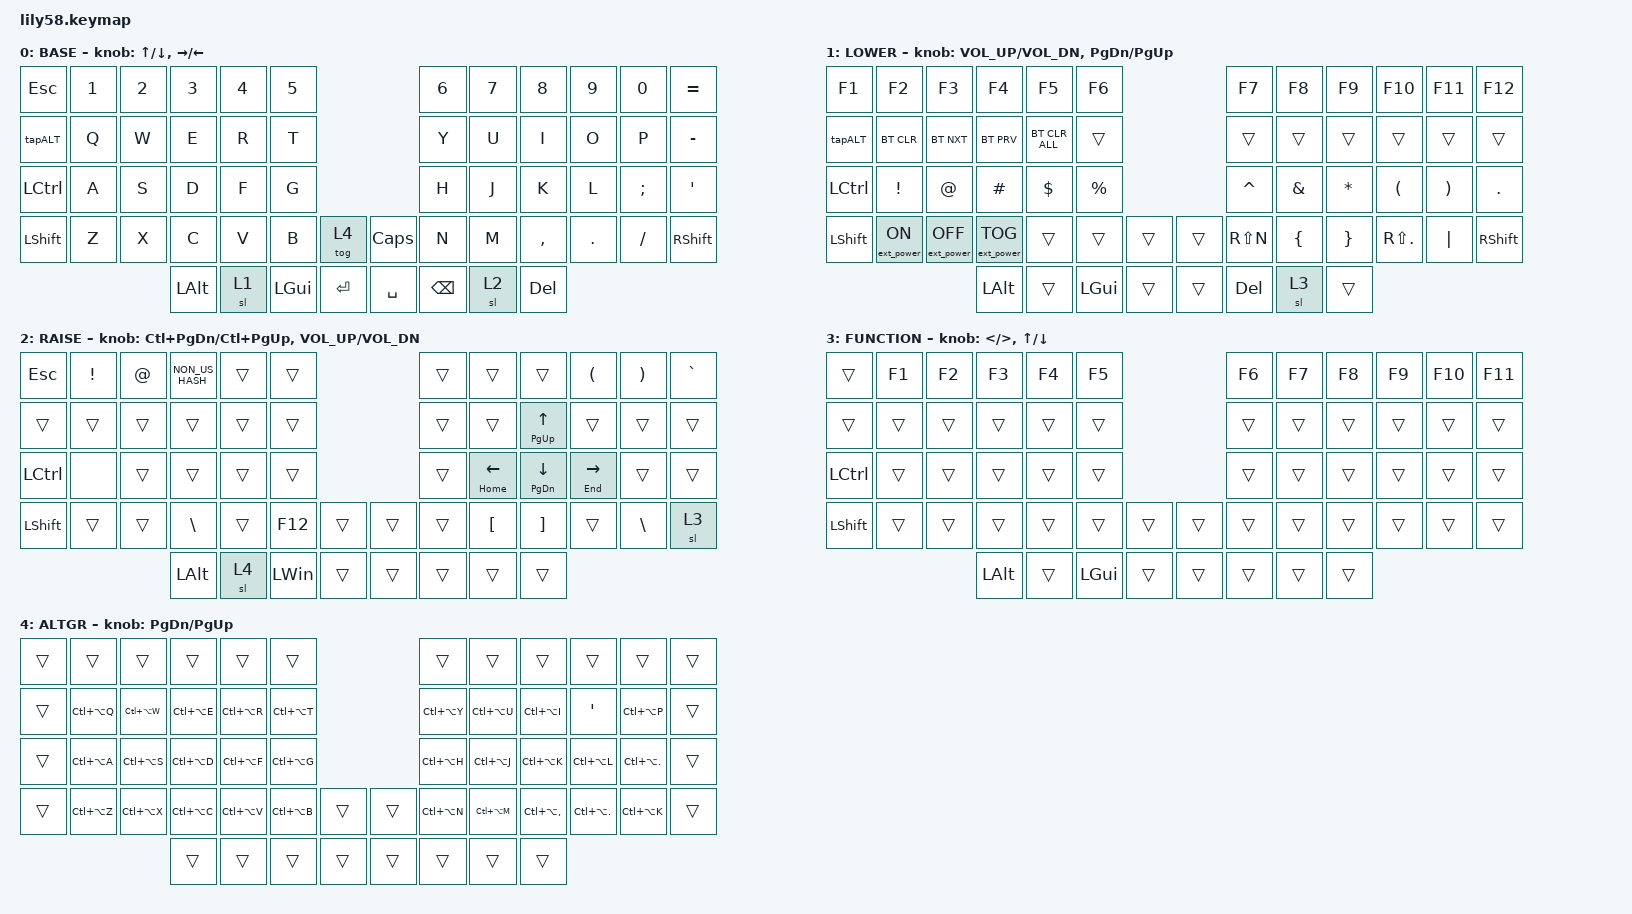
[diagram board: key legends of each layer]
/*
 * Copyright (c) 2020 The ZMK Contributors
 *
 * SPDX-License-Identifier: MIT
 */

#include <behaviors.dtsi>
#include <dt-bindings/zmk/bt.h>
#include <dt-bindings/zmk/ext_power.h>
#include <dt-bindings/zmk/keys.h>

/ {
    sensors {
        compatible = "zmk,keymap-sensors";
        sensors = <&left_encoder &right_encoder>;
        triggers-per-rotation = <20>;
    };
};

&led_strip { chain-length = <37>; };
&nice_view_spi { cs-gpios = <&pro_micro 4 GPIO_ACTIVE_HIGH>; };


/ {
    combos {
        compatible = "zmk,combos";

        escape {
            bindings = <&kp RIGHT_PARENTHESIS>;
            key-positions = <10 56>;
            layers = <2>;
        };

        left_par {
            bindings = <&kp LEFT_PARENTHESIS>;
            key-positions = <56 9>;
            layers = <2>;
        };
    };

    behaviors {
        pgup: pgup {
            compatible = "zmk,behavior-hold-tap";
            label = "PGUP";
            bindings = <&kp>, <&kp>;

            #binding-cells = <2>;
            flavor = "tap-preferred";
            tapping-term-ms = <200>;
            hold-trigger-key-positions = <33>;
        };

        tapALT: tapALT {
            compatible = "zmk,behavior-tap-dance";
            label = "TAPALT";
            #binding-cells = <0>;
            bindings = <&kp TAB>, <&kp LA(TAB)>;
        };
    };

    keymap {
        compatible = "zmk,keymap";

        default_layer {
            label = "BASE";

            // ------------------------------------------------------------------------------------------------------------
            // |  ESC  |  1  |  2  |  3   |  4   |  5   |                   |  6   |  7    |  8    |  9   |   0   |   `   |
            // |  TAB  |  Q  |  W  |  E   |  R   |  T   |                   |  Y   |  U    |  I    |  O   |   P   |   -   |
            // |  CTRL |  A  |  S  |  D   |  F   |  G   |                   |  H   |  J    |  K    |  L   |   ;   |   '   |
            // | SHIFT |  Z  |  X  |  C   |  V   |  B   |   "["  |  |  "]"  |  N   |  M    |  ,    |  .   |   /   | SHIFT |
            //                     | ALT  | GUI  | LOWER|  SPACE |  | ENTER | RAISE| BSPC  | GUI   |

            bindings = <
&kp ESC         &kp NUMBER_1  &kp NUMBER_2  &kp NUMBER_3  &kp N4  &kp N5                                    &kp N6         &kp N7  &kp N8     &kp N9   &kp N0    &kp EQUAL
&tapALT         &kp Q         &kp W         &kp E         &kp R   &kp T                                     &kp Y          &kp U   &kp I      &kp O    &kp P     &kp MINUS
&kp LCTRL       &kp A         &kp S         &kp D         &kp F   &kp G                                     &kp H          &kp J   &kp K      &kp L    &kp SEMI  &kp SQT
&kp LEFT_SHIFT  &kp Z         &kp X         &kp C         &kp V   &kp B         &tog 4        &kp CAPSLOCK  &kp N          &kp M   &kp COMMA  &kp DOT  &kp FSLH  &kp RIGHT_SHIFT
                                            &kp LALT      &sl 1   &kp LEFT_GUI  &kp RETURN    &kp SPACE     &kp BACKSPACE  &sl 2   &kp DEL
            >;

            sensor-bindings =
                <&inc_dec_kp UP_ARROW DOWN_ARROW>,
                <&inc_dec_kp RIGHT_ARROW LEFT_ARROW>;
        };

        lower_layer {
            label = "LOWER";

            // ------------------------------------------------------------------------------------------------------------
            // | BTCLR | BT1 | BT2 |  BT3 |  BT4 |  BT5 |                   |      |       |       |      |       |       |
            // |  F1   |  F2 |  F3 |  F4  |  F5  |  F6  |                   |  F7  |  F8   |  F9   |  F10 |  F11  |  F12  |
            // |   `   |  !  |  @  |  #   |  $   |  %   |                   |  ^   |  &    |  *    |  (   |   )   |   ~   |
            // |       |     |     |      |      |      |        |  |       |      |  _    |  +    |  {   |   }   |  "|"  |
            //                     |      |      |      |        |  |       |      |       |       |

            bindings = <
&kp F1            &kp F2            &kp F3             &kp F4             &kp F5          &kp F6                          &kp F7      &kp F8          &kp F9           &kp F10         &kp F11   &kp F12
&tapALT           &bt BT_CLR        &bt BT_NXT         &bt BT_PRV         &bt BT_CLR_ALL  &trans                          &trans      &trans          &trans           &trans          &trans    &trans
&kp LEFT_CONTROL  &kp EXCL          &kp AT             &kp HASH           &kp DOLLAR      &kp PRCNT                       &kp CARET   &kp AMPS        &kp ASTRK        &kp LPAR        &kp RPAR  &kp DOT
&kp LEFT_SHIFT    &ext_power EP_ON  &ext_power EP_OFF  &ext_power EP_TOG  &trans          &trans        &trans    &trans  &kp RS(N)   &kp LEFT_BRACE  &kp RIGHT_BRACE  &kp RS(PERIOD)  &kp PIPE  &kp RIGHT_SHIFT
                                                       &kp LEFT_ALT       &trans          &kp LEFT_GUI  &trans    &trans  &kp DELETE  &sl 3           &trans
            >;

            sensor-bindings =
                <&inc_dec_kp C_VOL_UP C_VOL_DN>,
                <&inc_dec_kp PG_DN PG_UP>;
        };

        raise_layer {
            label = "RAISE";

            // ------------------------------------------------------------------------------------------------------------
            // |       |     |     |      |      |      |                   |      |       |       |      |       |       |
            // |   `   |  1  |  2  |  3   |  4   |  5   |                   |  6   |   7   |   8   |  9   |   0   |       |
            // |   F1  |  F2 |  F3 |  F4  |  F5  |  F6  |                   |      |   <-  |   v   |  ^   |  ->   |       |
            // |   F7  |  F8 |  F9 |  F10 |  F11 |  F12 |        |  |       |  +   |   -   |   =   |  [   |   ]   |   \   |
            //                     |      |      |      |        |  |       |      |       |       |

            bindings = <
&kp ESC           &kp EXCL  &kp AT  &kp NON_US_HASH  &trans  &trans                          &trans  &trans            &trans                &kp LEFT_PARENTHESIS  &kp RIGHT_PARENTHESIS  &kp GRAVE
&trans            &trans    &trans  &trans           &trans  &trans                          &trans  &trans            &pgup PG_UP UP_ARROW  &trans                &trans                 &trans
&kp LEFT_CONTROL  &none     &trans  &trans           &trans  &trans                          &trans  &pgup HOME LEFT   &pgup PG_DN DOWN      &pgup END RIGHT       &trans                 &trans
&kp LEFT_SHIFT    &trans    &trans  &kp BACKSLASH    &trans  &kp F12       &trans    &trans  &trans  &kp LEFT_BRACKET  &kp RIGHT_BRACKET     &trans                &kp BACKSLASH          &sl 3
                                    &kp LEFT_ALT     &sl 4   &kp LEFT_WIN  &trans    &trans  &trans  &trans            &trans
            >;

            sensor-bindings =
                <&inc_dec_kp LC(PG_DN) LC(PG_UP)>,
                <&inc_dec_kp C_VOL_UP C_VOL_DN>;
        };

        function_layer {
            bindings = <
&trans          &kp F1  &kp F2  &kp F3        &kp F4  &kp F5                          &kp F6  &kp F7  &kp F8  &kp F9  &kp F10  &kp F11
&trans          &trans  &trans  &trans        &trans  &trans                          &trans  &trans  &trans  &trans  &trans   &trans
&kp LCTRL       &trans  &trans  &trans        &trans  &trans                          &trans  &trans  &trans  &trans  &trans   &trans
&kp LEFT_SHIFT  &trans  &trans  &trans        &trans  &trans        &trans    &trans  &trans  &trans  &trans  &trans  &trans   &trans
                                &kp LEFT_ALT  &trans  &kp LEFT_GUI  &trans    &trans  &trans  &trans  &trans
            >;

            sensor-bindings =
                <&inc_dec_kp LT GT>,
                <&inc_dec_kp UP_ARROW DOWN_ARROW>;

            label = "FUNCTION";
        };

        alt_gr_layer {
            bindings = <
&trans  &trans         &trans         &trans         &trans         &trans                           &trans         &trans         &trans             &trans              &trans              &trans
&trans  &kp LC(LA(Q))  &kp LC(LA(W))  &kp LC(LA(E))  &kp LC(LA(R))  &kp LC(LA(T))                    &kp LC(LA(Y))  &kp LC(LA(U))  &kp LC(LA(I))      &kp SINGLE_QUOTE    &kp LC(LA(P))       &trans
&trans  &kp LC(LA(A))  &kp LC(LA(S))  &kp LC(LA(D))  &kp LC(LA(F))  &kp LC(LA(G))                    &kp LC(LA(H))  &kp LC(LA(J))  &kp LC(LA(K))      &kp LC(LA(L))       &kp LC(LA(PERIOD))  &trans
&trans  &kp LC(LA(Z))  &kp LC(LA(X))  &kp LC(LA(C))  &kp LC(LA(V))  &kp LC(LA(B))  &trans    &trans  &kp LC(LA(N))  &kp LC(LA(M))  &kp LC(LA(COMMA))  &kp LC(LA(PERIOD))  &kp LC(LA(K))       &trans
                                      &trans         &trans         &trans         &trans    &trans  &trans         &trans         &trans
            >;

            label = "ALTGR";
            sensor-bindings = <&inc_dec_kp PG_DN PG_UP>;
        };
    };
